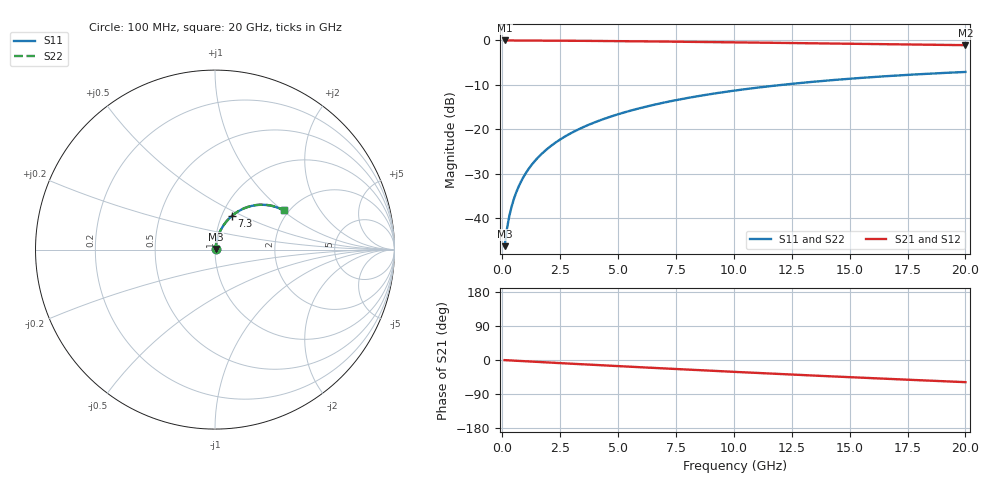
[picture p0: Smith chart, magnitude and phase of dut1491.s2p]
! Touchstone file exported from HFSS 2026.1.0
!  File:  C:/ffzhzh/LocalFiles/Ansys_Project_Files/temp_train_BSMRDL_1491_1783181542_22436.aedt
!  Generated:  12:13:40 AM Jul  5, 2026
!  Design:  BSMRDL
!  Project:  temp_train_BSMRDL_1491_1783181542_22436
! Variables:
!  h_bsmrdl = 5.95um
!  h_ox = 20um
!  h_rdl = 5um
!  h_sub = 80um
!  h_tmrdl = 5um
!  h_tsv = 80um
!  h_via = 3um
!  l_bsmrdl = 959.95um
!  l_sub = 1359.95um
!  l_tmrdl = 200um
!  m_sub = 200um
!  pitch = 39.25um
!  r_tsv = 6um
!  s_tmrdl = 10um
!  w_bsmrdl = 16.92um
!  w_sub = 500um
!  w_tmrdl = 12um
!  x_tsv_center1 = 206um
!  x_tsv_center2 = 1182.87um
!  x_tsv_center3 = 1394.87um
!  x_tsv_center4 = 2371.74um
!  x_tsv_center5 = 2583.74um
!  x_tsv_center6 = 3560.61um
# GHz S MA R 50.000000
! Terminal data exported
! Port[1] = BSM_RDL1_1_T1
! Port[2] = BSM_RDL1_1_T2
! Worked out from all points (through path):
!   200 points, 100 MHz to 20 GHz, reference 50 ohm
!   highest |S21| = -0.03 dB at 100 MHz (marker M1); lowest = -1.1 dB at 20 GHz (marker M2)
!   group delay of S21, straight-line fit = 8.11 ps
!   lowest |S11| = -46.3 dB at 100 MHz (marker M3), VSWR 1.01, Z = 50.4 + j0.339 ohm
!   |S11| at or under -10 dB: start of sweep to 12.09 GHz
!   |S22| runs from -46.3 to -7.1 dB; largest |S21 - S12| = 1.8e-14
!   S11 on the Smith chart (normalised r, x): 100 MHz: 1.01, +0.01; 7.3 GHz: 1.11, +0.43; 20 GHz: 1.88, +1.02
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0.1  0.004863 43.8  0.9965 -0.3  0.9965 -0.3  0.004863 43.8
! Gamma 0 0 0 0
! Port Impedance 50 0 50 0
0.2  0.007594 60.3  0.9963 -0.7  0.9963 -0.7  0.007594 60.3
0.3  0.01052 67.4  0.9961 -1.0  0.9961 -1.0  0.01052 67.4
0.4  0.01349 71.4  0.9959 -1.3  0.9959 -1.3  0.01349 71.4
0.5  0.01649 73.9  0.9958 -1.7  0.9958 -1.7  0.01649 73.9
0.6  0.01951 75.5  0.9956 -2.0  0.9956 -2.0  0.01951 75.5
0.8  0.02558 77.5  0.9953 -2.7  0.9953 -2.7  0.02558 77.5
1.1  0.03474 78.7  0.9948 -3.7  0.9948 -3.7  0.03474 78.7
1.5  0.04692 78.8  0.9939 -5.0  0.9939 -5.0  0.04692 78.9
1.8  0.056 78.5  0.9931 -5.9  0.9931 -5.9  0.056 78.5
2.1  0.06501 78.0  0.9921 -6.9  0.9921 -6.9  0.06501 78.0
2.7  0.08278 76.6  0.99 -8.9  0.99 -8.9  0.08277 76.6
3.5  0.1059 74.4  0.9868 -11.4  0.9868 -11.4  0.1059 74.5
4.2  0.1257 72.5  0.9836 -13.6  0.9836 -13.6  0.1256 72.5
5  0.1476 70.2  0.9796 -16.1  0.9796 -16.1  0.1476 70.2
6.8  0.195 65.0  0.9697 -21.7  0.9697 -21.7  0.195 65.1
7.3  0.2077 63.6  0.9667 -23.2  0.9667 -23.2  0.2076 63.7
8.6  0.2394 59.9  0.9586 -27.1  0.9586 -27.1  0.2394 60.0
10.1  0.2739 55.7  0.9487 -31.5  0.9487 -31.5  0.2739 55.8
13.4  0.3416 46.6  0.9256 -40.9  0.9256 -40.9  0.3415 46.8
16.7  0.3972 37.9  0.9028 -49.9  0.9028 -49.9  0.3971 38.1
20  0.4411 29.6  0.8823 -58.5  0.8823 -58.5  0.441 29.8
